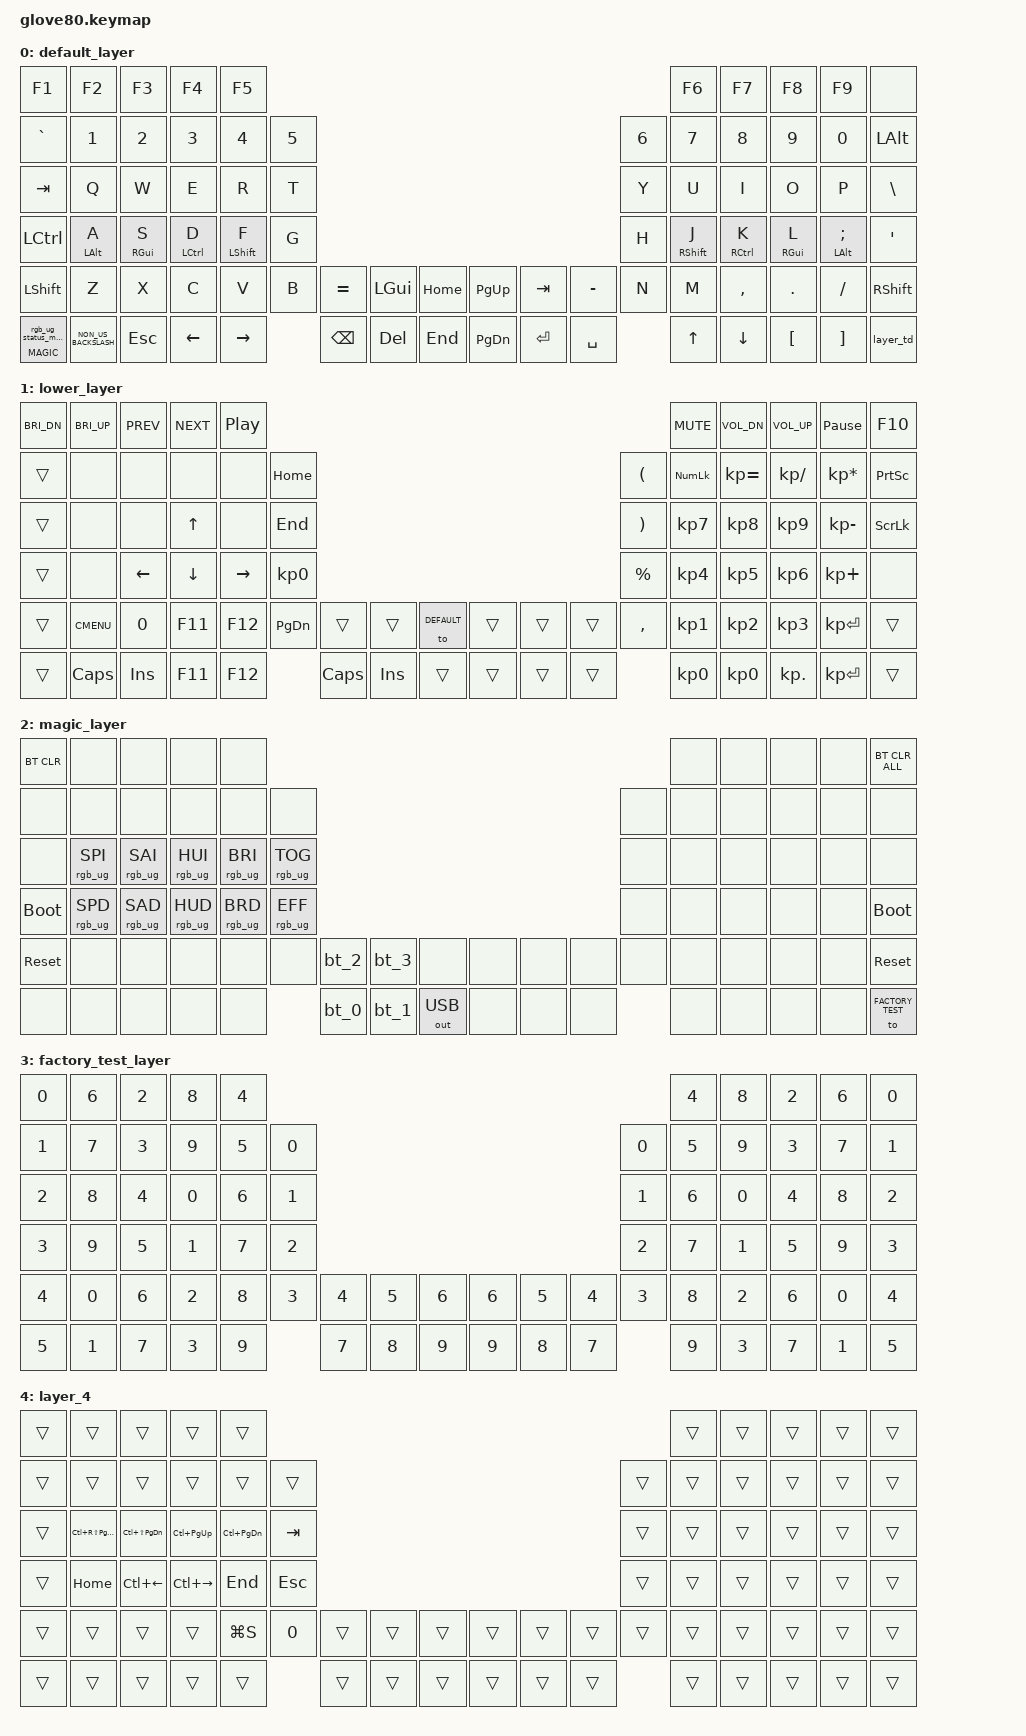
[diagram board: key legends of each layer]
/*
 * Copyright (c) 2020 The ZMK Contributors
 *
 * SPDX-License-Identifier: MIT
 */

#include <behaviors.dtsi>
#include <dt-bindings/zmk/bt.h>
#include <dt-bindings/zmk/keys.h>
#include <dt-bindings/zmk/outputs.h>
#include <dt-bindings/zmk/rgb.h>

#define HYPER LC(LS(LG(LALT)))

// layers

#define DEFAULT 0
#define LOWER 1
#define MAGIC 2
#define FACTORY_TEST 3

/ {
    behaviors {
        // For the "layer" key, it'd nice to be able to use it as either a shift or a toggle.
        // Configure it as a tap dance, so the first tap (or hold) is a &mo and the second tap is a &to

        layer_td: tap_dance_0 {
            compatible = "zmk,behavior-tap-dance";
            label = "LAYER_TAP_DANCE";
            #binding-cells = <0>;
            tapping-term-ms = <200>;
            bindings = <&mo LOWER>, <&to LOWER>;
        };

        magic: magic_hold_tap {
            compatible = "zmk,behavior-hold-tap";
            label = "MAGIC_HOLD_TAP";
            #binding-cells = <2>;
            flavor = "tap-preferred";
            tapping-term-ms = <200>;
            bindings = <&mo>, <&rgb_ug_status_macro>;
        };

        hrm_index_right: hrm_index_right {
            compatible = "zmk,behavior-hold-tap";
            label = "HRM_INDEX_RIGHT";
            bindings = <&kp>, <&kp>;

            #binding-cells = <2>;
            tapping-term-ms = <160>;
            flavor = "tap-preferred";
            require-prior-idle-ms = <160>;
            hold-trigger-key-positions = <51 39 27 15 14 26 38 50 68 4 3 13 25 37 67 49 48 66 36 24 12 2 1 11 35 65 47 23 22 10 0 34 64 46 52 53 54 71 70 69 55 56 57 74 73 72>;
            quick-tap-ms = <100>;
            retro-tap;
            hold-trigger-on-release;
        };

        hrm_index_left: hrm_index_left {
            compatible = "zmk,behavior-hold-tap";
            label = "HRM_INDEX_LEFT";
            bindings = <&kp>, <&kp>;

            #binding-cells = <2>;
            tapping-term-ms = <160>;
            require-prior-idle-ms = <160>;
            flavor = "tap-preferred";
            hold-trigger-key-positions = <58 75 59 76 61 77 60 42 43 41 40 28 29 30 31 19 18 16 17 6 5 7 9 8 32 20 21 33 45 44 62 63 79 78 55 56 57 74 73 72 53 54 71 69 70 52>;
            quick-tap-ms = <100>;
            retro-tap;
            hold-trigger-on-release;
        };

        hrm_middle_right: hrm_middle_right {
            compatible = "zmk,behavior-hold-tap";
            label = "HRM_MIDDLE_RIGHT";
            bindings = <&kp>, <&kp>;

            #binding-cells = <2>;
            tapping-term-ms = <230>;
            flavor = "balanced";
            require-prior-idle-ms = <230>;
            hold-trigger-key-positions = <51 39 27 15 14 26 38 50 68 4 3 13 25 37 67 49 48 66 36 24 12 2 1 11 35 65 47 23 22 10 0 34 64 46 52 53 54 71 70 69 55 56 57 74 72 73>;
            quick-tap-ms = <200>;
            retro-tap;
            hold-trigger-on-release;
        };

        hrm_middle_left: hrm_middle_left {
            compatible = "zmk,behavior-hold-tap";
            label = "HRM_MIDDLE_LEFT";
            bindings = <&kp>, <&kp>;

            #binding-cells = <2>;
            tapping-term-ms = <230>;
            require-prior-idle-ms = <230>;
            flavor = "balanced";
            hold-trigger-key-positions = <58 75 59 76 61 77 60 42 43 41 40 28 29 30 31 19 18 16 17 6 5 7 9 8 32 20 21 33 45 44 62 63 79 78 56 74 73 72 55 57 52 69 53 70 71 54>;
            quick-tap-ms = <200>;
            retro-tap;
            hold-trigger-on-release;
        };

        hrm_ring_right: hrm_ring_right {
            compatible = "zmk,behavior-hold-tap";
            label = "HRM_RING_RIGHT";
            bindings = <&kp>, <&kp>;

            #binding-cells = <2>;
            tapping-term-ms = <250>;
            flavor = "balanced";
            require-prior-idle-ms = <230>;
            hold-trigger-key-positions = <51 39 27 15 14 26 38 50 68 4 3 13 25 37 67 49 48 66 36 24 12 2 1 11 35 65 47 23 22 10 0 34 64 46 52 53 54 71 70 69 55 56 57 74 73 72>;
            quick-tap-ms = <200>;
            retro-tap;
            hold-trigger-on-release;
        };

        hrm_ring_left: hrm_ring_left {
            compatible = "zmk,behavior-hold-tap";
            label = "HRM_RING_LEFT";
            bindings = <&kp>, <&kp>;

            #binding-cells = <2>;
            tapping-term-ms = <250>;
            require-prior-idle-ms = <230>;
            flavor = "balanced";
            hold-trigger-key-positions = <58 75 59 76 61 77 60 42 43 41 40 28 29 30 31 19 18 16 17 6 5 7 9 8 32 20 21 33 45 44 62 63 79 78 72 73 74 55 56 57 52 54 53 70 71 69>;
            quick-tap-ms = <200>;
            retro-tap;
            hold-trigger-on-release;
        };

        hrm_pinky_right: hrm_pinky_right {
            compatible = "zmk,behavior-hold-tap";
            label = "HRM_PINKY_RIGHT";
            bindings = <&kp>, <&kp>;

            #binding-cells = <2>;
            tapping-term-ms = <270>;
            flavor = "balanced";
            require-prior-idle-ms = <230>;
            hold-trigger-key-positions = <51 39 27 15 14 26 38 50 68 4 3 13 25 37 67 49 48 66 36 24 12 2 1 11 35 65 47 23 22 10 0 34 64 46 71 54 53 70 52 69 74 57 73 56 55 72>;
            quick-tap-ms = <200>;
            retro-tap;
            hold-trigger-on-release;
        };

        hrm_pinky_left: hrm_pinky_left {
            compatible = "zmk,behavior-hold-tap";
            label = "HRM_PINKY_LEFT";
            bindings = <&kp>, <&kp>;

            #binding-cells = <2>;
            tapping-term-ms = <270>;
            require-prior-idle-ms = <230>;
            flavor = "balanced";
            hold-trigger-key-positions = <58 75 59 76 61 77 60 42 43 41 40 28 29 30 31 19 18 16 17 6 5 7 9 8 32 20 21 33 45 44 62 63 79 78 73 72 55 57 56 74 71 54 53 70 52 69>;
            quick-tap-ms = <200>;
            retro-tap;
            hold-trigger-on-release;
        };
    };

    macros {
        rgb_ug_status_macro: rgb_ug_status_macro_0 {
            label = "RGB_UG_STATUS";
            compatible = "zmk,behavior-macro";
            #binding-cells = <0>;
            bindings = <&rgb_ug RGB_STATUS>;
        };

        bt_0: bt_profile_macro_0 {
            label = "BT_0";
            compatible = "zmk,behavior-macro";
            #binding-cells = <0>;
            bindings = <&out OUT_BLE &bt BT_SEL 0>;
        };

        bt_1: bt_profile_macro_1 {
            label = "BT_1";
            compatible = "zmk,behavior-macro";
            #binding-cells = <0>;
            bindings = <&out OUT_BLE &bt BT_SEL 1>;
        };

        bt_2: bt_profile_macro_2 {
            label = "BT_2";
            compatible = "zmk,behavior-macro";
            #binding-cells = <0>;
            bindings = <&out OUT_BLE &bt BT_SEL 2>;
        };

        bt_3: bt_profile_macro_3 {
            label = "BT_3";
            compatible = "zmk,behavior-macro";
            #binding-cells = <0>;
            bindings = <&out OUT_BLE &bt BT_SEL 3>;
        };

        super_tab: super_tab {
            compatible = "zmk,behavior-macro";
            #binding-cells = <0>;
            bindings = <&kp RIGHT_GUI &kp TAB>, <&macro_press>;

            label = "SUPER_TAB";
            tap-ms = <100>;
        };

        super_shift_tab: super_shift_tab {
            compatible = "zmk,behavior-macro";
            #binding-cells = <0>;
            bindings = <&kp RIGHT_GUI &kp LEFT_SHIFT &kp TAB>, <&macro_press>;

            label = "SUPER_SHIFT_TAB";
            tap-ms = <100>;
        };
    };

    keymap {
        compatible = "zmk,keymap";

        default_layer {
            // ---------------------------------------------------------------------------------------------------------------------------------
            // |  F1   |  F2 |  F3 |  F4  |  F5  |                                                               |  F6   |  F7   |  F8  |   F9  |  F10 |
            // |  =    |  1  |  2  |  3   |  4   |  5   |                                                 |  6   |   7   |   8   |  9   |   0   |   -  |
            // |  TAB  |  Q  |  W  |  E   |  R   |  T   |                                                 |  Y   |   U   |   I   |  O   |   P   |   \  |
            // |  ESC  |  A  |  S  |  D   |  F   |  G   |                                                 |  H   |   J   |   K   |  L   |   ;   |   '  |
            // |   `   |  Z  |  X  |  C   |  V   |  B   | LSHFT | LCTRL | LOWER | | LGUI  | RCTRL | RSHFT |  N   |   M   |   ,   |  .   |   /   | PGUP |
            // | MAGIC | HOME| END | LEFT | RIGHT|      | BSPC  | DEL   | LALT  | | RALT  | RET   | SPACE |      |  UP   | DOWN  |  [   |   ]   | PGDN |

            bindings = <
&kp F1          &kp F2                      &kp F3                      &kp F4                    &kp F5                                                                                                          &kp F6                          &kp F7                     &kp F8                       &kp F9                               &none
&kp GRAVE       &kp N1                      &kp N2                      &kp N3                    &kp N4                    &kp N5                                                                        &kp N6  &kp N7                          &kp N8                     &kp N9                       &kp N0                               &kp LEFT_ALT
&kp TAB         &kp Q                       &kp W                       &kp E                     &kp R                     &kp T                                                                         &kp Y   &kp U                           &kp I                      &kp O                        &kp P                                &kp BSLH
&kp LCTRL       &hrm_pinky_left LEFT_ALT A  &hrm_ring_left RIGHT_GUI S  &hrm_middle_left LCTRL D  &hrm_index_left LSHIFT F  &kp G                                                                         &kp H   &hrm_index_right RIGHT_SHIFT J  &hrm_middle_right RCTRL K  &hrm_ring_right RIGHT_GUI L  &hrm_pinky_right LEFT_ALT SEMICOLON  &kp SQT
&kp LEFT_SHIFT  &kp Z                       &kp X                       &kp C                     &kp V                     &kp B   &kp EQUAL  &kp LEFT_GUI  &kp HOME  &kp PAGE_UP    &kp TAB  &kp MINUS  &kp N   &kp M                           &kp COMMA                  &kp DOT                      &kp FSLH                             &kp RIGHT_SHIFT
&magic MAGIC 0  &kp NON_US_BACKSLASH        &kp ESCAPE                  &kp LEFT                  &kp RIGHT                         &kp BSPC   &kp DEL       &kp END   &kp PAGE_DOWN  &kp RET  &kp SPACE          &kp UP                          &kp DOWN                   &kp LBKT                     &kp RBKT                             &layer_td
            >;
        };

        lower_layer {
            bindings = <
&kp C_BRI_DN  &kp C_BRI_UP  &kp C_PREV  &kp C_NEXT  &kp C_PP                                                                                              &kp C_MUTE  &kp C_VOL_DN  &kp C_VOL_UP   &kp PAUSE_BREAK  &kp F10
&trans        &none         &none       &none       &none      &kp HOME                                                                        &kp LPAR   &kp KP_NUM  &kp KP_EQUAL  &kp KP_DIVIDE  &kp KP_MULTIPLY  &kp PSCRN
&trans        &none         &none       &kp UP      &none      &kp END                                                                         &kp RPAR   &kp KP_N7   &kp KP_N8     &kp KP_N9      &kp KP_MINUS     &kp SLCK
&trans        &none         &kp LEFT    &kp DOWN    &kp RIGHT  &kp KP_NUMBER_0                                                                 &kp PRCNT  &kp KP_N4   &kp KP_N5     &kp KP_N6      &kp KP_PLUS      &none
&trans        &kp K_CMENU   &kp N0      &kp F11     &kp F12    &kp PG_DN        &trans        &trans      &to DEFAULT  &trans  &trans  &trans  &kp COMMA  &kp KP_N1   &kp KP_N2     &kp KP_N3      &kp KP_ENTER     &trans
&trans        &kp CAPS      &kp INS     &kp F11     &kp F12                     &kp CAPSLOCK  &kp INSERT  &trans       &trans  &trans  &trans             &kp KP_N0   &kp KP_N0     &kp KP_DOT     &kp KP_ENTER     &trans
            >;
        };

        magic_layer {
            bindings = <
&bt BT_CLR   &none            &none            &none            &none                                                                                     &none  &none  &none  &none  &bt BT_CLR_ALL
&none        &none            &none            &none            &none            &none                                                             &none  &none  &none  &none  &none  &none
&none        &rgb_ug RGB_SPI  &rgb_ug RGB_SAI  &rgb_ug RGB_HUI  &rgb_ug RGB_BRI  &rgb_ug RGB_TOG                                                   &none  &none  &none  &none  &none  &none
&bootloader  &rgb_ug RGB_SPD  &rgb_ug RGB_SAD  &rgb_ug RGB_HUD  &rgb_ug RGB_BRD  &rgb_ug RGB_EFF                                                   &none  &none  &none  &none  &none  &bootloader
&sys_reset   &none            &none            &none            &none            &none            &bt_2  &bt_3  &none         &none  &none  &none  &none  &none  &none  &none  &none  &sys_reset
&none        &none            &none            &none            &none                             &bt_0  &bt_1  &out OUT_USB  &none  &none  &none         &none  &none  &none  &none  &to FACTORY_TEST
            >;
        };

        factory_test_layer {
            bindings = <
&kp N0  &kp N6  &kp N2  &kp N8  &kp N4                                                                  &kp N4  &kp N8  &kp N2  &kp N6  &kp N0
&kp N1  &kp N7  &kp N3  &kp N9  &kp N5  &kp N0                                                  &kp N0  &kp N5  &kp N9  &kp N3  &kp N7  &kp N1
&kp N2  &kp N8  &kp N4  &kp N0  &kp N6  &kp N1                                                  &kp N1  &kp N6  &kp N0  &kp N4  &kp N8  &kp N2
&kp N3  &kp N9  &kp N5  &kp N1  &kp N7  &kp N2                                                  &kp N2  &kp N7  &kp N1  &kp N5  &kp N9  &kp N3
&kp N4  &kp N0  &kp N6  &kp N2  &kp N8  &kp N3  &kp N4  &kp N5  &kp N6  &kp N6  &kp N5  &kp N4  &kp N3  &kp N8  &kp N2  &kp N6  &kp N0  &kp N4
&kp N5  &kp N1  &kp N7  &kp N3  &kp N9          &kp N7  &kp N8  &kp N9  &kp N9  &kp N8  &kp N7          &kp N9  &kp N3  &kp N7  &kp N1  &kp N5
            >;
        };

        layer_4 {
            bindings = <
&trans  &trans               &trans                 &trans           &trans                                                                                   &trans  &trans  &trans  &trans  &trans
&trans  &trans               &trans                 &trans           &trans             &trans                                                        &trans  &trans  &trans  &trans  &trans  &trans
&trans  &kp LC(RS(PAGE_UP))  &kp LC(LS(PAGE_DOWN))  &kp LC(PAGE_UP)  &kp LC(PAGE_DOWN)  &kp TAB                                                       &trans  &trans  &trans  &trans  &trans  &trans
&trans  &kp HOME             &kp LC(LEFT)           &kp LC(RIGHT)    &kp END            &kp ESCAPE                                                    &trans  &trans  &trans  &trans  &trans  &trans
&trans  &trans               &trans                 &trans           &kp LG(S)          &kp NUMBER_0  &trans  &trans  &trans  &trans  &trans  &trans  &trans  &trans  &trans  &trans  &trans  &trans
&trans  &trans               &trans                 &trans           &trans                           &trans  &trans  &trans  &trans  &trans  &trans          &trans  &trans  &trans  &trans  &trans
            >;
        };
    };
};
